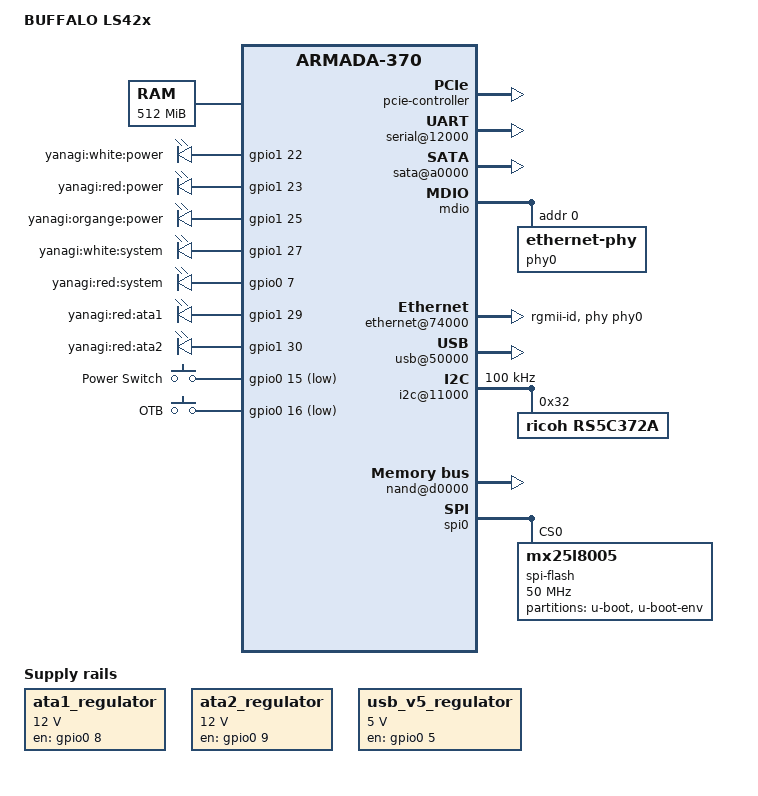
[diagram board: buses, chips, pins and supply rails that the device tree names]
/*
 * Device Tree file for BUFFALO YANAGI board found in LinkStation LS42x
 *  all information found via visual inspection of the board and wild
 *  guessing/probing.
 *
 * Copyright (C) 2015, Daniel Golle <daniel@makrotopia.org>
 * Copyright (C) 2013, Arnaud EBALARD <arno@natisbad.org>
 *
 * This file is dual-licensed: you can use it either under the terms
 * of the GPL or the X11 license, at your option. Note that this dual
 * licensing only applies to this file, and not this project as a
 * whole.
 *
 *  a) This file is free software; you can redistribute it and/or
 *     modify it under the terms of the GNU General Public License as
 *     published by the Free Software Foundation; either version 2 of the
 *     License, or (at your option) any later version.
 *
 *     This file is distributed in the hope that it will be useful
 *     but WITHOUT ANY WARRANTY; without even the implied warranty of
 *     MERCHANTABILITY or FITNESS FOR A PARTICULAR PURPOSE.  See the
 *     GNU General Public License for more details.
 *
 * Or, alternatively
 *
 *  b) Permission is hereby granted, free of charge, to any person
 *     obtaining a copy of this software and associated documentation
 *     files (the "Software"), to deal in the Software without
 *     restriction, including without limitation the rights to use
 *     copy, modify, merge, publish, distribute, sublicense, and/or
 *     sell copies of the Software, and to permit persons to whom the
 *     Software is furnished to do so, subject to the following
 *     conditions:
 *
 *     The above copyright notice and this permission notice shall be
 *     included in all copies or substantial portions of the Software.
 *
 *     THE SOFTWARE IS PROVIDED , WITHOUT WARRANTY OF ANY KIND
 *     EXPRESS OR IMPLIED, INCLUDING BUT NOT LIMITED TO THE WARRANTIES
 *     OF MERCHANTABILITY, FITNESS FOR A PARTICULAR PURPOSE AND
 *     NONINFRINGEMENT. IN NO EVENT SHALL THE AUTHORS OR COPYRIGHT
 *     HOLDERS BE LIABLE FOR ANY CLAIM, DAMAGES OR OTHER LIABILITY
 *     WHETHER IN AN ACTION OF CONTRACT, TORT OR OTHERWISE, ARISING
 *     FROM, OUT OF OR IN CONNECTION WITH THE SOFTWARE OR THE USE OR
 *     OTHER DEALINGS IN THE SOFTWARE.
 */

/dts-v1/;

#include <dt-bindings/input/input.h>
#include <dt-bindings/gpio/gpio.h>
#include "armada-370.dtsi"

/ {
	model = "BUFFALO LS42x"; /* Buffalo LS-M 88f6710 */
	/* based on DB-88F6710-BP-DDR3 reference design */

	compatible = "buffalo,yanagi", "buffalo,ls42x", "marvell,armada370", "marvell,armada-370-xp";
	chosen {
		bootargs = "console=ttyS0,115200 earlyprintk";
	};

	memory {
		device_type = "memory";
		reg = <0x00000000 0x20000000>; /* 512 MB */
	};

	soc {
		ranges = <MBUS_ID(0xf0, 0x01) 0 0xd0000000 0x100000
			  MBUS_ID(0x01, 0xe0) 0 0xfff00000 0x100000
			  MBUS_ID(0x09, 0x01) 0 0xf1100000 0x10000>;

		pcie-controller {
			status = "okay";

			/* Connected to Renesas uPD720202 USB 3.0 Host */
			pcie@1,0 {
				/* Port 0, Lane 0 */
				status = "okay";
			};

			/* unpopulated miniPCIe slot */
			pcie@2,0 {
				/* Port 1, Lane 0 */
				status = "disabled";
			};
		};

		internal-regs {
			rtc@10300 {
				status = "disabled";
			};

			/* serial console */
			serial@12000 {
				status = "okay";
			};

			/* SATA interfaces */
			sata@a0000 {
				nr-ports = <2>;
				status = "okay";
			};

			mdio {
				pinctrl-0 = <&mdio_pins>;
				pinctrl-names = "default";
				phy0: ethernet-phy@0 { /* Marvell 88E1518 */
					reg = <0>;
				};
			};

			ethernet@74000 {
				pinctrl-0 = <&ge1_rgmii_pins>;
				pinctrl-names = "default";
				status = "okay";
				phy = <&phy0>;
				phy-mode = "rgmii-id";
			};

			usb@50000 {
				vcc-supply = <&usb_v5_regulator>;
				status = "okay";
			};

			i2c@11000 {
				compatible = "marvell,mv64xxx-i2c";
				clock-frequency = <100000>;
				status = "okay";

				rs5c372a: rs5c372a@32 {
					compatible = "ricoh,rs5c372a";
					reg = <0x32>;
				};
			};

			nand@d0000 {
				status = "okay";
				num-cs = <1>;
				marvell,nand-keep-config;
				marvell,nand-enable-arbiter;
				nand-on-flash-bbt;

				/* Use Hardware BCH ECC */
				nand-ecc-strength = <4>;
				nand-ecc-step-size = <512>;

				partition@0 {
					label = "boot";
					reg = <0x00000000 0x02000000>;  /* 32MB */
				};

				partition@1 {
					label = "rootfs";
					reg = <0x02000000 0x1e000000>;  /* 480MB */
				};
			};

			gpio_leds {
				compatible = "gpio-leds";
				pinctrl-names = "default";
				pinctrl-0 = <&power_led_pins &power_led_pins2
					     &system_led_pins &ata1_led_pins
					     &ata2_led_pins>;

				white-power-led {
					label = "yanagi:white:power";
					gpios = <&gpio1 22 GPIO_ACTIVE_HIGH>;
					default-state = "keep";
				};

				red-power-led {
					label = "yanagi:red:power";
					gpios = <&gpio1 23 GPIO_ACTIVE_HIGH>;
					default-state = "keep";
				};

				orange-power-led {
					label = "yanagi:organge:power";
					gpios = <&gpio1 25 GPIO_ACTIVE_HIGH>;
					default-state = "keep";
				};

				white-system-led {
					label = "yanagi:white:system";
					gpios = <&gpio1 27 GPIO_ACTIVE_HIGH>;
					default-state = "keep";
				};

				red-system-led {
					label = "yanagi:red:system";
					gpios = <&gpio0 7 GPIO_ACTIVE_HIGH>;
					default-state = "keep";
				};

				red-ata1-led {
					label = "yanagi:red:ata1";
					gpios = <&gpio1 29 GPIO_ACTIVE_HIGH>;
					default-state = "keep";
					linux,default-trigger = "ata1";
				};

				red-ata2-led {
					label = "yanagi:red:ata2";
					gpios = <&gpio1 30 GPIO_ACTIVE_HIGH>;
					default-state = "keep";
					linux,default-trigger = "ata2";
				};
			};

			gpio_keys {
				compatible = "gpio-keys";
				#address-cells = <1>;
				#size-cells = <0>;
				pinctrl-0 = <&keys_pins>;
				pinctrl-names = "default";

				power-switch {
					label = "Power Switch";
					linux,code = <KEY_POWER>;
					linux,input-type = <5>;
					gpios = <&gpio0 15 GPIO_ACTIVE_LOW>;
				};

				otb {
					label = "OTB";
					linux,code = <KEY_COPY>;
					gpios = <&gpio0 16 GPIO_ACTIVE_LOW>;
				};
			};

			gpio_fan {
				compatible = "gpio-fan";
				pinctrl-0 = <&fan_pins>;
				pinctrl-names = "default";
				gpios = <&gpio0 13 GPIO_ACTIVE_HIGH
					 &gpio0 14 GPIO_ACTIVE_HIGH>;
				gpio-fan,speed-map = <0    3
						      2000 2
						      4000 1
						      6000 0>;
			};


		};

		regulators {
			compatible = "simple-bus";
			#address-cells = <1>;
			#size-cells = <0>;
			pinctrl-0 = <&ata1_power_pin
				     &ata2_power_pin
				     &usb_power_pin>;
			pinctrl-names = "default";

			ata1_regulator: ata1-regulator {
				compatible = "regulator-fixed";
				reg = <1>;
				regulator-name = "ATA1";
				regulator-min-microvolt = <12000000>;
				regulator-max-microvolt = <12000000>;
				startup-delay-us = <2000000>;
				enable-active-high;
				regulator-always-on;
				regulator-boot-on;
				gpio = <&gpio0 8 GPIO_ACTIVE_HIGH>;
			};

			ata2_regulator: ata2-regulator {
				compatible = "regulator-fixed";
				reg = <2>;
				regulator-name = "ATA2";
				regulator-min-microvolt = <12000000>;
				regulator-max-microvolt = <12000000>;
				startup-delay-us = <4000000>;
				enable-active-high;
				regulator-always-on;
				regulator-boot-on;
				gpio = <&gpio0 9 GPIO_ACTIVE_HIGH>;
			};

			usb_v5_regulator: usb-v5-regulator {
				compatible = "regulator-fixed";
				regulator-name = "USB";
				regulator-min-microvolt = <5000000>;
				regulator-max-microvolt = <5000000>;
				startup-delay-us = <4000000>;
				enable-active-high;
				regulator-always-on;
				regulator-boot-on;
				gpio = <&gpio0 5 GPIO_ACTIVE_HIGH>;
			};
		};
	};
	restart_poweroff {
		compatible = "restart-poweroff";
	};
};

&pinctrl {
	fan_pins: fan-pins {
		marvell,pins = "mpp13", "mpp14";
		marvell,function = "gpio";
	};

	keys_pins: keys-pins {
		marvell,pins = "mpp15", "mpp16";
		marvell,function = "gpio";
	};

	uart1_ctsrts_pins: uart1-ctsrts-pins {
		marvell,pins = "mpp38", "mpp40";
		marvell,function = "uart1";
	};

	power_led_pins: power-led-pins {
		marvell,pins = "mpp54";
		marvell,function = "gpo";
	};

	power_led_pins2: power-led-pins2 {
		marvell,pins = "mpp55", "mpp57";
		marvell,function = "gpio";
	};

	system_led_pins: system-led-pins {
		marvell,pins = "mpp7", "mpp59";
		marvell,function = "gpo";
	};

	usb_power_pin: usb-power-pin {
		marvell,pins = "mpp5";
		marvell,function = "gpo";
	};

	ata1_power_pin: ata1-power-pin {
		marvell,pins = "mpp8";
		marvell,function = "gpio";
	};

	ata2_power_pin: ata2-power-pin {
		marvell,pins = "mpp9";
		marvell,function = "gpo";
	};

	ata1_led_pins: ata1-led-pins {
		marvell,pins = "mpp61";
		marvell,function = "gpo";
	};

	ata2_led_pins: ata2-led-pins {
		marvell,pins = "mpp62";
		marvell,function = "gpio";
	};
};

&spi0 {
    pinctrl-0 = <&spi0_pins2>;
    pinctrl-names = "default";
    status = "okay";

    spi-flash@0 {
        #address-cells = <1>;
        #size-cells = <1>;
        compatible = "mx25l8005","jedec,spi-nor";
        reg = <0>; /* Chip select 0 */
        spi-max-frequency = <50000000>;

        partition@0 {
            reg = <0x00000 0xf0000>;
            label = "u-boot";
            read-only;
        };

        partition@1 {
            reg = <0xf0000 0x10000>;
            label = "u-boot-env";
        };
    };
};

